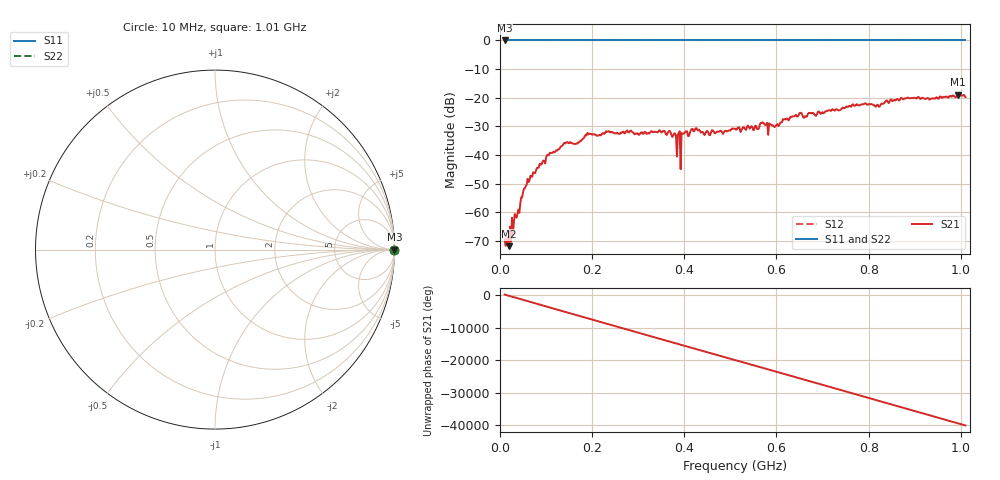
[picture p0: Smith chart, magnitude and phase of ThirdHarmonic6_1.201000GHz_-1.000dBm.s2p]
! 8/16/2025 12:26:22 PM
! C:\ANRITSUVNA\TEMP\TEMP.S2P
! CHANNEL.1
! TR.MEASUREMENT
! RAW.DATA
! RF.CORRECTION.OFF
! AVERAGING.OFF
! IF.BANDWIDTH: 5KHZ
! SWEEPTYPE:  FREQ.SWEEP(Linear)
! Reference Plane Port Info
! PORT:  PORT1  PORT2
! DISTANCE:  0  m  0  m
! TIME:  0  s  0  s
! PHASE.OFFSET:  0  deg.  0  deg.
! LOSS:  0  dB  0  dB
! REF.LOSS:  0  dB  0  dB
! REF.FREQ:  0  Hz  0  Hz
! Power Info
! POWER:  -20  dBm  -20  dBm
! EFF.POWER:  -20  dBm  -20  dBm
! SOURCE.ATTEN:  0  dB  0  dB
! TEST.ATTEN:  0  dB  0  dB
# GHZ S RI R 50.0
! FREQ.GHZ  S11RE  S11IM  S21RE  S21IM  S12RE  S12IM  S22RE  S22IM
!; PortSelection: Port_12
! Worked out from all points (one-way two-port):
!   501 points, 10 MHz to 1.01 GHz, reference 50 ohm
!   highest |S21| = -18.92 dB at 994 MHz (marker M1); lowest = -71.9 dB at 20 MHz (marker M2)
!   lowest |S11| = 0.0 dB at 10 MHz (marker M3)
!   |S11| at or under -10 dB: nowhere
!   |S22| runs from 0.0 to 0.0 dB; largest |S21 - S12| = 1.1
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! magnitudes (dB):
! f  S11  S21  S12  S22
! 10 MHz  0.0  -69.4  0.0  0.0
! 20 MHz  0.0  -71.9  0.0  0.0
! 50 MHz  0.0  -53.0  0.0  0.0
! 70 MHz  0.0  -47.6  0.0  0.0
! 106 MHz  0.0  -40.1  0.0  0.0
! 142 MHz  0.0  -36.0  0.0  0.0
! 178 MHz  0.0  -34.6  0.0  0.0
! 234 MHz  0.0  -31.9  0.0  0.0
! 344 MHz  0.0  -31.8  0.0  0.0
! 378 MHz  0.0  -32.5  0.0  0.0
! 386 MHz  0.0  -32.8  0.0  0.0
! 388 MHz  0.0  -32.3  0.0  0.0
! 396 MHz  0.0  -32.5  0.0  0.0
! 398 MHz  0.0  -32.6  0.0  0.0
! 420 MHz  0.0  -31.8  0.0  0.0
! 510 MHz  0.0  -30.8  0.0  0.0
! 568 MHz  0.0  -28.8  0.0  0.0
! 600 MHz  0.0  -29.5  0.0  0.0
! 678 MHz  0.0  -25.3  0.0  0.0
! 844 MHz  0.0  -21.9  0.0  0.0
! 994 MHz  0.0  -18.9  0.0  0.0
! 1.01 GHz  0.0  -19.8  0.0  0.0
